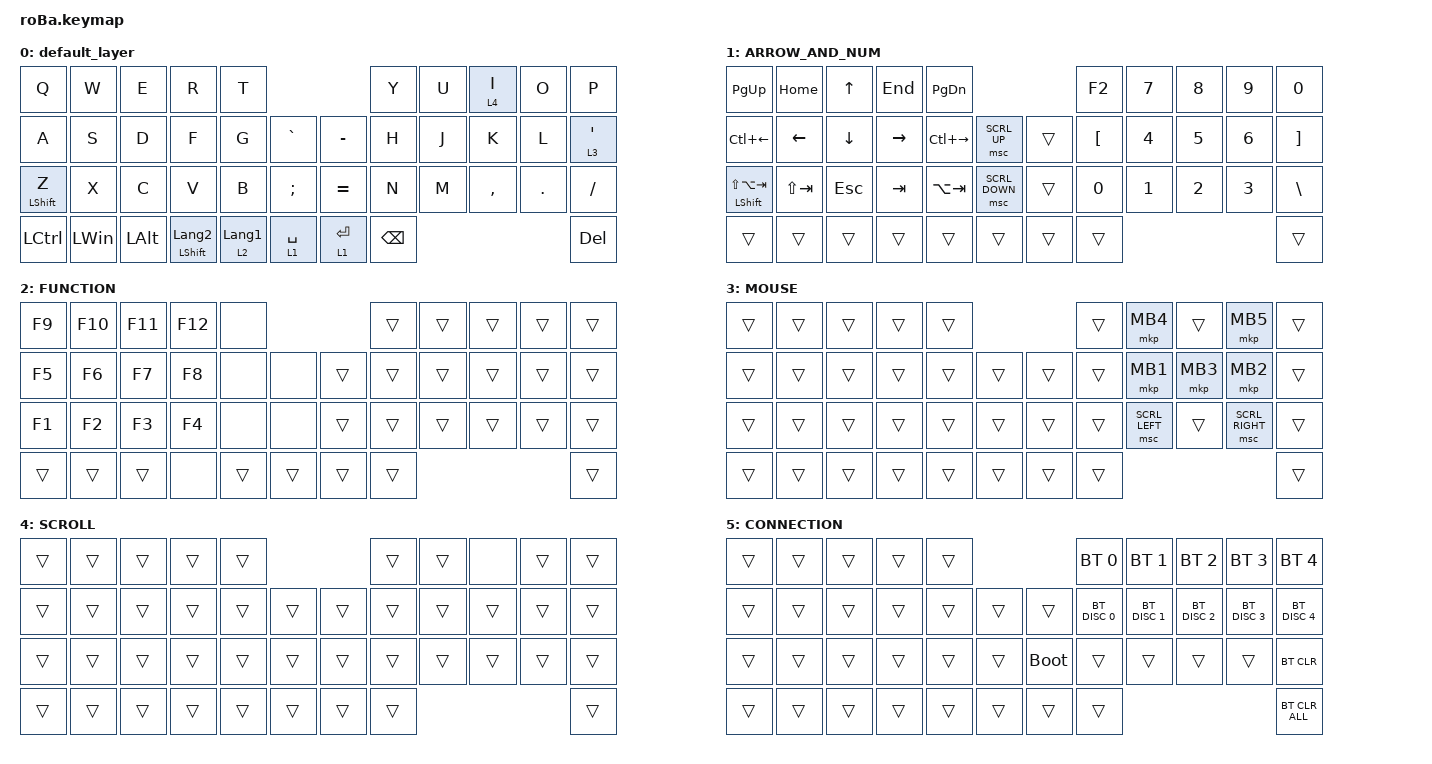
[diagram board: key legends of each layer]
#include <behaviors.dtsi>
#include <dt-bindings/zmk/bt.h>
#include <dt-bindings/zmk/keys.h>
#include <dt-bindings/zmk/pointing.h>

&mt {
    flavor = "balanced";
    quick-tap-ms = <0>;
};

&trackball {
    // automouse-layer = <3>;   // MOUSE layer
    scroll-layers = <4>;     // SCROLL layer

    // arrows {
    //     layers = <3>;
    //     bindings =
    //         <&kp RIGHT_ARROW>,
    //         <&kp LEFT_ARROW>,
    //         <&kp UP_ARROW>,
    //         <&kp DOWN_ARROW>;
    //     tick = <10>;
    //     wait-ms = <5>;
    //     tap-ms = <5>;
    // };
};

/ {
    combos {
        compatible = "zmk,combos";

        MKP_MB1 {
            bindings = <&mkp MB1>;
            key-positions = <18 19>;
        };

        MKP_MB2 {
            bindings = <&mkp MB2>;
            key-positions = <19 20>;
        };

        MKP_MB3 {
            bindings = <&mkp MB3>;
            key-positions = <18 20>;
        };

        MO6 {
            bindings = <&mo 5>;
            key-positions = <38 37 39>;
        };
    };

    macros {
        to_layer_0: to_layer_0 {
            compatible = "zmk,behavior-macro-one-param";
            #binding-cells = <1>;
            bindings = <&to 0 &macro_param_1to1 &kp MACRO_PLACEHOLDER>;
            label = "TO_LAYER_0";
        };
    };

    behaviors {
        lt_to_layer_0: lt_to_layer_0 {
            compatible = "zmk,behavior-hold-tap";
            label = "LAYER_TAP_TO_0";
            bindings = <&mo>, <&to_layer_0>;

            #binding-cells = <2>;
            tapping-term-ms = <200>;
        };
    };

    keymap {
        compatible = "zmk,keymap";

        default_layer {
            bindings = <
&kp Q             &kp W         &kp E         &kp R             &kp T                                                    &kp Y          &kp U  &lt 4 I    &kp O    &kp P
&kp A             &kp S         &kp D         &kp F             &kp G                      &kp GRAVE        &kp MINUS    &kp H          &kp J  &kp K      &kp L    &lt 3 SQT
&mt LEFT_SHIFT Z  &kp X         &kp C         &kp V             &kp B                      &kp SEMI         &kp EQUAL    &kp N          &kp M  &kp COMMA  &kp DOT  &kp SLASH
&kp LCTRL         &kp LEFT_WIN  &kp LEFT_ALT  &mt LEFT_SHIFT LANGUAGE_2  &lt 2 LANGUAGE_1  &lt 1 SPACE      &lt 1 ENTER  &kp BACKSPACE                             &kp DEL
            >;
        };

        ARROW_AND_NUM {
            bindings = <
&kp PAGE_UP                 &kp HOME        &kp UP_ARROW    &kp END          &kp PAGE_DOWN                              &kp F2    &kp NUMBER_7  &kp NUMBER_8  &kp N9        &kp N0
&kp LC(LEFT)                &kp LEFT_ARROW  &kp DOWN_ARROW  &kp RIGHT_ARROW  &kp LC(RIGHT)  &msc SCRL_UP        &trans  &kp LBKT  &kp NUMBER_4  &kp NUMBER_5  &kp NUMBER_6  &kp RBKT
&mt LEFT_SHIFT LS(LA(TAB))  &kp LS(TAB)     &kp ESC         &kp TAB          &kp LA(TAB)    &msc SCRL_DOWN      &trans  &kp N0    &kp NUMBER_1  &kp NUMBER_2  &kp NUMBER_3  &kp BSLH
&trans                      &trans          &trans          &trans           &trans         &trans              &trans  &trans                                              &trans
            >;
        };

        FUNCTION {
            bindings = <
&kp F9  &kp F10  &kp F11  &kp F12  &none                       &trans  &trans  &trans  &trans  &trans
&kp F5  &kp F6   &kp F7   &kp F8   &none   &none       &trans  &trans  &trans  &trans  &trans  &trans
&kp F1  &kp F2   &kp F3   &kp F4   &none   &none       &trans  &trans  &trans  &trans  &trans  &trans
&trans  &trans   &trans   &none    &trans  &trans      &trans  &trans                          &trans
            >;
        };

        MOUSE {
            bindings = <
&trans  &trans  &trans  &trans  &trans                      &trans  &mkp MB4        &trans    &mkp MB5         &trans
&trans  &trans  &trans  &trans  &trans  &trans      &trans  &trans  &mkp MB1        &mkp MB3  &mkp MB2         &trans
&trans  &trans  &trans  &trans  &trans  &trans      &trans  &trans  &msc SCRL_LEFT  &trans    &msc SCRL_RIGHT  &trans
&trans  &trans  &trans  &trans  &trans  &trans      &trans  &trans                                             &trans
            >;
        };

        SCROLL {
            bindings = <
&trans  &trans  &trans  &trans  &trans                      &trans  &trans  &none   &trans  &trans
&trans  &trans  &trans  &trans  &trans  &trans      &trans  &trans  &trans  &trans  &trans  &trans
&trans  &trans  &trans  &trans  &trans  &trans      &trans  &trans  &trans  &trans  &trans  &trans
&trans  &trans  &trans  &trans  &trans  &trans      &trans  &trans                          &trans
            >;
        };

        CONNECTION {
            bindings = <
&trans  &trans  &trans  &trans  &trans                           &bt BT_SEL 0   &bt BT_SEL 1   &bt BT_SEL 2   &bt BT_SEL 3   &bt BT_SEL 4
&trans  &trans  &trans  &trans  &trans  &trans      &trans       &bt BT_DISC 0  &bt BT_DISC 1  &bt BT_DISC 2  &bt BT_DISC 3  &bt BT_DISC 4
&trans  &trans  &trans  &trans  &trans  &trans      &bootloader  &trans         &trans         &trans         &trans         &bt BT_CLR
&trans  &trans  &trans  &trans  &trans  &trans      &trans       &trans                                                      &bt BT_CLR_ALL
            >;
        };
    };
};
